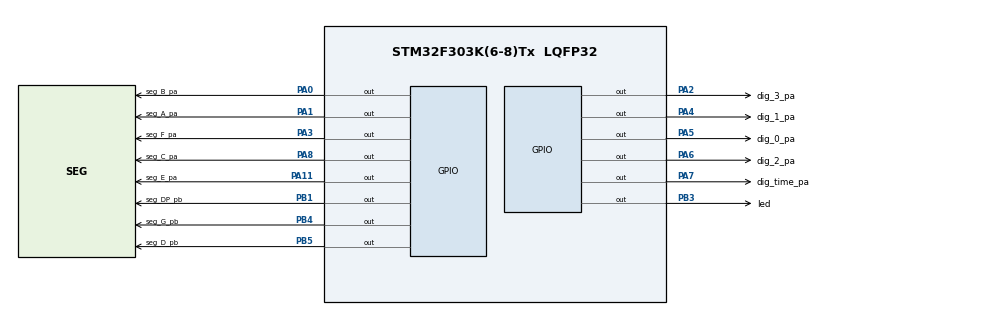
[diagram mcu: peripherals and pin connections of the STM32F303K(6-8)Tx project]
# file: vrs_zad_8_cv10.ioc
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Mcu.Family=STM32F3
Mcu.Name=STM32F303K(6-8)Tx
Mcu.Package=LQFP32
NVIC.PriorityGroup=NVIC_PRIORITYGROUP_4
NVIC.TIM1_TRG_COM_TIM17_IRQn=true\:0\:0\:false\:false\:true\:true\:true
NVIC.TIM1_UP_TIM16_IRQn=true\:0\:0\:false\:false\:true\:true\:true
PA0.GPIO_Label=seg_B_pa
PA0.Signal=GPIO_Output
PA1.GPIO_Label=seg_A_pa
PA1.Signal=GPIO_Output
PA11.GPIO_Label=seg_E_pa
PA11.Signal=GPIO_Output
PA13.GPIO_Label=SWDIO
PA13.Mode=Serial_Wire
PA13.Signal=SYS_JTMS-SWDIO
PA14.GPIO_Label=SWCLK
PA14.Mode=Serial_Wire
PA14.Signal=SYS_JTCK-SWCLK
PA15.GPIO_Label=VCP_RX
PA15.Signal=USART2_RX
PA2.GPIO_Label=dig_3_pa
PA2.Signal=GPIO_Output
PA3.GPIO_Label=seg_F_pa
PA3.Signal=GPIO_Output
PA4.GPIO_Label=dig_1_pa
PA4.Signal=GPIO_Output
PA5.GPIO_Label=dig_0_pa
PA5.Signal=GPIO_Output
PA6.GPIO_Label=dig_2_pa
PA6.Signal=GPIO_Output
PA7.GPIO_Label=dig_time_pa
PA7.Signal=GPIO_Output
PA8.GPIO_Label=seg_C_pa
PA8.Signal=GPIO_Output
PB1.GPIO_Label=seg_DP_pb
PB1.Signal=GPIO_Output
PB3.GPIO_Label=led
PB3.Signal=GPIO_Output
PB4.GPIO_Label=seg_G_pb
PB4.Signal=GPIO_Output
PB5.GPIO_Label=seg_D_pb
PB5.Signal=GPIO_Output
PF0\ /\ OSC_IN.GPIO_Label=MCO
PF0\ /\ OSC_IN.Mode=HSE-External-Clock-Source
PF0\ /\ OSC_IN.Signal=RCC_OSC_IN
ProjectManager.HeapSize=0x200
ProjectManager.StackSize=0x400
ProjectManager.TargetToolchain=STM32CubeIDE
RCC.AHBFreq_Value=8000000
RCC.APB1Freq_Value=8000000
RCC.APB2Freq_Value=8000000
RCC.CortexFreq_Value=8000000
RCC.HSE_VALUE=8000000
RCC.HSI_VALUE=8000000
RCC.SYSCLKFreq_VALUE=8000000
TIM16.Period=499
TIM16.Prescaler=7999
TIM17.Period=7999
VP_TIM16_VS_ClockSourceINT.Mode=Enable_Timer
VP_TIM17_VS_ClockSourceINT.Mode=Enable_Timer
board=NUCLEO-F303K8

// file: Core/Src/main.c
/* USER CODE BEGIN Header */
/**
  ******************************************************************************
  * @file           : main.c
  * @brief          : Main program body
  ******************************************************************************
  * @attention
  *
  * <h2><center>&copy; Copyright (c) 2020 STMicroelectronics.
  * All rights reserved.</center></h2>
  *
  * This software component is licensed by ST under BSD 3-Clause license,
  * the "License"; You may not use this file except in compliance with the
  * License. You may obtain a copy of the License at:
  *                        opensource.org/licenses/BSD-3-Clause
  *
  ******************************************************************************
  */
/* USER CODE END Header */
#include "main.h"

/* USER CODE BEGIN PD */
uint8_t mode=0;
#define multiplex_display 0x1
#define shift_display 0x2
#define up_or_down	0x04

#define max_buff_size 64
uint8_t active_display=0;
uint16_t display_buffer_pa[max_buff_size];
uint16_t display_buffer_pb[max_buff_size];
uint8_t str[max_buff_size];

uint16_t size_buff=0;
uint16_t offset=0;
/* USER CODE END PD */

void SystemClock_Config(void);
static void MX_GPIO_Init(void);
static void MX_TIM17_Init(void);
static void MX_TIM16_Init(void);

/* USER CODE BEGIN 0 */
void my_str_cpy(uint8_t * from, uint8_t * to, uint16_t *copied, uint16_t max){
	uint16_t cnt=0;
	for(cnt=0;cnt<max;cnt++){
		*to=*from;
		if(*from == '\0')
			{*copied=cnt;return;}
		else
			{to+=1;from+=1;}
	}
}

void convert_str_to_7seg(uint8_t *from, uint16_t *pa,uint16_t *pb,uint16_t max){
	uint16_t cnt=0;//,mask_a=0,mask_b=0;
	for (cnt=0;cnt<max;cnt++){
		*pa=0xffff & ~(dig_0_pa_Pin | dig_1_pa_Pin | dig_2_pa_Pin | dig_3_pa_Pin | dig_time_pa_Pin);
		*pb=0xffff;
		switch(*from){
			case '0':{
				*pa &= ~(seg_A_pa_Pin | seg_B_pa_Pin | seg_C_pa_Pin | seg_E_pa_Pin | seg_F_pa_Pin);
				*pb &= ~(seg_D_pb_Pin);
				break;}
			case '1':{
				*pa&=~(seg_B_pa_Pin | seg_C_pa_Pin);
				break;}
			case '2':{
				*pa &= ~(seg_A_pa_Pin | seg_B_pa_Pin | seg_E_pa_Pin );
				*pb &= ~(seg_D_pb_Pin | seg_G_pb_Pin);
				break;}
			case '3':{
				*pa &= ~(seg_A_pa_Pin | seg_B_pa_Pin | seg_C_pa_Pin );
				*pb &= ~(seg_D_pb_Pin | seg_G_pb_Pin);
				break;}
			case '4':{
				*pa &= ~( seg_B_pa_Pin | seg_C_pa_Pin | seg_F_pa_Pin);
				*pb &= ~( seg_G_pb_Pin );
				break;}
			case '5':{
				*pa &= ~(seg_A_pa_Pin | seg_C_pa_Pin | seg_F_pa_Pin);
				*pb &= ~(seg_D_pb_Pin | seg_G_pb_Pin);
				break;}
			case '6':{
				*pa &= ~(seg_A_pa_Pin | seg_C_pa_Pin | seg_E_pa_Pin | seg_F_pa_Pin);
				*pb &= ~(seg_D_pb_Pin | seg_G_pb_Pin);
				break;}
			case '7':{
				*pa &= ~(seg_A_pa_Pin | seg_B_pa_Pin | seg_C_pa_Pin );
				break;}
			case '8':{
				*pa &= ~(seg_A_pa_Pin | seg_B_pa_Pin | seg_C_pa_Pin | seg_E_pa_Pin | seg_F_pa_Pin);
				*pb &= ~(seg_D_pb_Pin | seg_G_pb_Pin);
				break;}
			case '9':{
				*pa &= ~(seg_A_pa_Pin | seg_B_pa_Pin | seg_C_pa_Pin | seg_F_pa_Pin);
				*pb &= ~(seg_D_pb_Pin | seg_G_pb_Pin);
				break;}

			case 'A':{
				*pa &= ~(seg_A_pa_Pin | seg_B_pa_Pin | seg_C_pa_Pin | seg_E_pa_Pin | seg_F_pa_Pin);
				*pb &= ~( seg_G_pb_Pin);
				break;}
			case 'a':{
				*pa &= ~(seg_A_pa_Pin | seg_B_pa_Pin | seg_C_pa_Pin | seg_E_pa_Pin );
				*pb &= ~(seg_D_pb_Pin | seg_G_pb_Pin);
				break;}
			case 'b':{
				*pa &= ~( seg_C_pa_Pin | seg_E_pa_Pin | seg_F_pa_Pin);
				*pb &= ~(seg_D_pb_Pin | seg_G_pb_Pin);
				break;}
			case 'C':{
				*pa &= ~(seg_A_pa_Pin | seg_E_pa_Pin | seg_F_pa_Pin);
				*pb &= ~(seg_D_pb_Pin );
				break;}
			case 'c':{
				*pa &= ~( seg_E_pa_Pin );
				*pb &= ~(seg_D_pb_Pin | seg_G_pb_Pin);
				break;}
			case 'd':{
				*pa &= ~( seg_B_pa_Pin | seg_C_pa_Pin | seg_E_pa_Pin );
				*pb &= ~(seg_D_pb_Pin | seg_G_pb_Pin);
				break;}
			case 'E':{
				*pa &= ~(seg_A_pa_Pin | seg_E_pa_Pin | seg_F_pa_Pin);
				*pb &= ~(seg_D_pb_Pin | seg_G_pb_Pin);
				break;}
			case 'F':{
				*pa &= ~(seg_A_pa_Pin |  seg_E_pa_Pin | seg_F_pa_Pin);
				*pb &= ~( seg_G_pb_Pin);
				break;}
			case 'G':{
				*pa &= ~(seg_A_pa_Pin |  seg_C_pa_Pin | seg_E_pa_Pin | seg_F_pa_Pin);
				*pb &= ~(seg_D_pb_Pin );
				break;}
			case 'H':{
				*pa &= ~(seg_B_pa_Pin | seg_C_pa_Pin | seg_E_pa_Pin | seg_F_pa_Pin);
				*pb &= ~( seg_G_pb_Pin);
				break;}
			case 'h':{
				*pa &= ~( seg_C_pa_Pin | seg_E_pa_Pin | seg_F_pa_Pin);
				*pb &= ~( seg_G_pb_Pin);
				break;}
			case 'I':{
				*pa &= ~( seg_E_pa_Pin | seg_F_pa_Pin);
				// *pb &= ~(seg_D_pb_Pin | seg_G_pb_Pin);
				break;}
			case 'J':{
				*pa &= ~( seg_B_pa_Pin | seg_C_pa_Pin | seg_E_pa_Pin );
				*pb &= ~(seg_D_pb_Pin );
				break;}
			case 'L':{
				*pa &= ~(seg_E_pa_Pin | seg_F_pa_Pin);
				*pb &= ~(seg_D_pb_Pin );
				break;}
			case 'n':{
				*pa &= ~( seg_C_pa_Pin | seg_E_pa_Pin );
				*pb &= ~( seg_G_pb_Pin);
				break;}
			case 'O':{
				*pa &= ~(seg_A_pa_Pin | seg_B_pa_Pin | seg_C_pa_Pin | seg_E_pa_Pin | seg_F_pa_Pin);
				*pb &= ~(seg_D_pb_Pin );
				break;}
			case 'o':{
				*pa &= ~( seg_C_pa_Pin | seg_E_pa_Pin );
				*pb &= ~(seg_D_pb_Pin | seg_G_pb_Pin);
				break;}
			case 'P':{
				*pa &= ~(seg_A_pa_Pin | seg_B_pa_Pin  | seg_E_pa_Pin | seg_F_pa_Pin);
				*pb &= ~( seg_G_pb_Pin);
				break;}
			case 'q':{
				*pa &= ~(seg_A_pa_Pin | seg_B_pa_Pin | seg_C_pa_Pin | seg_F_pa_Pin);
				*pb &= ~( seg_G_pb_Pin);
				break;}
			case 'r':{
				*pa &= ~( seg_E_pa_Pin );
				*pb &= ~(seg_G_pb_Pin);
				break;}
			case 'S':{
				*pa &= ~(seg_A_pa_Pin | seg_C_pa_Pin  | seg_F_pa_Pin);
				*pb &= ~(seg_D_pb_Pin | seg_G_pb_Pin);
				break;}
			case 't':{
				*pa &= ~( seg_E_pa_Pin | seg_F_pa_Pin);
				*pb &= ~(seg_D_pb_Pin | seg_G_pb_Pin);
				break;}
			case 'U':{
				*pa &= ~(  seg_B_pa_Pin | seg_C_pa_Pin | seg_E_pa_Pin | seg_F_pa_Pin);
				*pb &= ~(seg_D_pb_Pin );
				break;}
			case 'u':{
				*pa &= ~( seg_C_pa_Pin | seg_E_pa_Pin );
				*pb &= ~(seg_D_pb_Pin );
				break;}
			case 'y':{
				*pa &= ~( seg_B_pa_Pin | seg_C_pa_Pin  | seg_F_pa_Pin);
				*pb &= ~(seg_D_pb_Pin | seg_G_pb_Pin);
				break;}

			//specials:
			case 'K':{
				*pa &= ~(seg_A_pa_Pin | seg_C_pa_Pin | seg_E_pa_Pin | seg_F_pa_Pin);
				*pb &= ~(seg_G_pb_Pin);
				break;}
			case 'M':{
				*pa &= ~(seg_A_pa_Pin | seg_B_pa_Pin | seg_F_pa_Pin);
				*pb &= ~(seg_D_pb_Pin );
				break;}
			case 'V':{
				*pa &= ~( seg_B_pa_Pin |   seg_F_pa_Pin);
				*pb &= ~(seg_D_pb_Pin );
				break;}
			case 'W':{
				*pa &= ~( seg_B_pa_Pin | seg_C_pa_Pin | seg_E_pa_Pin | seg_F_pa_Pin);
				*pb &= ~(seg_D_pb_Pin | seg_G_pb_Pin);
				break;}
			case 'X':{
				*pa &= ~(seg_A_pa_Pin  );
				*pb &= ~(seg_D_pb_Pin | seg_G_pb_Pin);
				break;}
			case 'Z':{
				*pa &= ~(seg_A_pa_Pin | seg_B_pa_Pin    | seg_E_pa_Pin);
				*pb &= ~(seg_D_pb_Pin | seg_G_pb_Pin);
				break;}
			case '_':{
				//*pa &= ~(seg_A_pa_Pin | seg_B_pa_Pin    | seg_E_pa_Pin);
				*pb &= ~(seg_D_pb_Pin );
				break;}
			default:
				*pb &=~seg_DP_pb_Pin;
			// specials:
			/*case 'm':{
				*pa &= ~( seg_C_pa_Pin | seg_E_pa_Pin );
				*pb &= ~( seg_G_pb_Pin | seg_DP_pb_Pin);

				pa+=1;pb+=1;
				*pa=0xffff & ~(dig_0_pa_Pin | dig_1_pa_Pin | dig_2_pa_Pin | dig_3_pa_Pin | dig_time_pa_Pin);
				*pb=0xffff;

				*pa &= ~( seg_C_pa_Pin | seg_E_pa_Pin );
				*pb &= ~( seg_G_pb_Pin );
				break;}
			case 'x':{
				*pa &= ~(seg_A_pa_Pin | seg_B_pa_Pin | seg_C_pa_Pin | seg_E_pa_Pin | seg_F_pa_Pin);
				*pb &= ~(seg_D_pb_Pin | seg_G_pb_Pin | seg_DP_pb_Pin);

				pa+=1;pb+=1;
				*pa=0xffff & ~(dig_0_pa_Pin | dig_1_pa_Pin | dig_2_pa_Pin | dig_3_pa_Pin | dig_time_pa_Pin);
				*pb=0xffff;
				*pa &= ~(seg_A_pa_Pin | seg_B_pa_Pin | seg_C_pa_Pin | seg_E_pa_Pin | seg_F_pa_Pin);
								*pb &= ~(seg_D_pb_Pin | seg_G_pb_Pin);

			}*/

		}
		pa+=1;pb+=1;from+=1;
	}
}

void start_tim17_with_IT(void){
	  LL_TIM_EnableIT_UPDATE(TIM17);
	  TIM17->CR1 |= TIM_CR1_CEN; // start timer
}

void start_tim16_with_IT(void){
	LL_TIM_EnableIT_UPDATE(TIM16);
	TIM16->CR1 |= TIM_CR1_CEN; // start timer
}

void multiplex_display_fcn(uint16_t offset,uint16_t max_offset){
	//LL_GPIO_TogglePin(led_GPIO_Port, led_Pin);
	active_display++;
	if (active_display>=4)
		active_display=0;
	if (offset>max_offset){
		offset=max_offset;}
	switch (active_display){
		case 0:{
			GPIOA->ODR = display_buffer_pa[offset];
			GPIOB->ODR = display_buffer_pb[offset];
			GPIOA->ODR |= dig_0_pa_Pin;
			break;}
		case 1:{
			GPIOA->ODR = display_buffer_pa[offset+1];
			GPIOB->ODR = display_buffer_pb[offset+1];
			GPIOA->ODR |= dig_1_pa_Pin;
			break;}
		case 2:{
			GPIOA->ODR = display_buffer_pa[offset+2];
			GPIOB->ODR = display_buffer_pb[offset+2];
			GPIOA->ODR |= dig_2_pa_Pin;
			break;}
		case 3:{
			GPIOA->ODR = display_buffer_pa[offset+3];
			GPIOB->ODR = display_buffer_pb[offset+3];
			GPIOA->ODR |= dig_3_pa_Pin;
			break;}
	}

}
/* USER CODE END 0 */

int main(void)
{
  /* USER CODE BEGIN 1 */
	//uint16_t temp=0;
  /* USER CODE END 1 */

  /* MCU Configuration--------------------------------------------------------*/

  /* Reset of all peripherals, Initializes the Flash interface and the Systick. */

  LL_APB2_GRP1_EnableClock(LL_APB2_GRP1_PERIPH_SYSCFG);
  LL_APB1_GRP1_EnableClock(LL_APB1_GRP1_PERIPH_PWR);

  NVIC_SetPriorityGrouping(NVIC_PRIORITYGROUP_4);

  /* System interrupt init*/

  /* Configure the system clock */
  SystemClock_Config();

  /* Initialize all configured peripherals */
  MX_GPIO_Init();
  MX_TIM17_Init();
  MX_TIM16_Init();
  /* USER CODE BEGIN 2 */

  my_str_cpy((uint8_t *) "PEtEr_SZabo_47447_PIrHaLa_MatEJ_92621", str, &size_buff, max_buff_size);
  convert_str_to_7seg(str, display_buffer_pa,display_buffer_pb,size_buff);
  start_tim17_with_IT();
  start_tim16_with_IT();
  //GPIOA->ODR=0xffff & ~(dig_0_pa_Pin | dig_1_pa_Pin | dig_2_pa_Pin | dig_3_pa_Pin | dig_time_pa_Pin);
  //GPIOB->ODR=0xffff;

  //GPIOA->ODR &= ~( seg_B_pa_Pin | seg_C_pa_Pin | seg_F_pa_Pin);
  //GPIOB->ODR &= ~( 1<<5);

  //GPIOA->ODR |= dig_1_pa_Pin;
  /* USER CODE END 2 */

  /* Infinite loop */
  /* USER CODE BEGIN WHILE */
  while (1)
  {
	  __WFI();
	  if (mode & multiplex_display){
		  multiplex_display_fcn(offset,size_buff-4);
		  mode &=~ multiplex_display;
	  }
	  if (mode & shift_display){
		  if (mode & up_or_down){
			  // up
			  offset++;
			  if (offset >(size_buff-4)){
				  offset=size_buff-4;
				  mode &= ~up_or_down;
			  }
		  }
		  else{
			  if (offset == 0){
				  offset=0;
				  mode |=up_or_down;
			  }
			  else{
				  offset--;
			  }
		  }

		  //offset++;
		  //LL_GPIO_TogglePin(led_GPIO_Port,led_Pin);
		  //if (offset >(size_buff-4)){
		  	  //offset=0;}
		  mode &=~ shift_display;
	  }
    /* USER CODE END WHILE */

  }
}

void SystemClock_Config(void)
{
  LL_FLASH_SetLatency(LL_FLASH_LATENCY_0);
  while(LL_FLASH_GetLatency()!= LL_FLASH_LATENCY_0)
  {
  }
  LL_RCC_HSI_Enable();

   /* Wait till HSI is ready */
  while(LL_RCC_HSI_IsReady() != 1)
  {

  }
  LL_RCC_HSI_SetCalibTrimming(16);
  LL_RCC_SetAHBPrescaler(LL_RCC_SYSCLK_DIV_1);
  LL_RCC_SetAPB1Prescaler(LL_RCC_APB1_DIV_1);
  LL_RCC_SetAPB2Prescaler(LL_RCC_APB1_DIV_1);
  LL_RCC_SetSysClkSource(LL_RCC_SYS_CLKSOURCE_HSI);

   /* Wait till System clock is ready */
  while(LL_RCC_GetSysClkSource() != LL_RCC_SYS_CLKSOURCE_STATUS_HSI)
  {

  }
  LL_Init1msTick(8000000);
  LL_SetSystemCoreClock(8000000);
}

static void MX_TIM16_Init(void)
{

  LL_TIM_InitTypeDef TIM_InitStruct = {0};

  /* Peripheral clock enable */
  LL_APB2_GRP1_EnableClock(LL_APB2_GRP1_PERIPH_TIM16);

  /* TIM16 interrupt Init */
  NVIC_SetPriority(TIM1_UP_TIM16_IRQn, NVIC_EncodePriority(NVIC_GetPriorityGrouping(),0, 0));
  NVIC_EnableIRQ(TIM1_UP_TIM16_IRQn);

  TIM_InitStruct.Prescaler = 7999;
  TIM_InitStruct.CounterMode = LL_TIM_COUNTERMODE_UP;
  TIM_InitStruct.Autoreload = 499;
  TIM_InitStruct.ClockDivision = LL_TIM_CLOCKDIVISION_DIV1;
  TIM_InitStruct.RepetitionCounter = 0;
  LL_TIM_Init(TIM16, &TIM_InitStruct);
  LL_TIM_DisableARRPreload(TIM16);

}

static void MX_TIM17_Init(void)
{

  LL_TIM_InitTypeDef TIM_InitStruct = {0};

  /* Peripheral clock enable */
  LL_APB2_GRP1_EnableClock(LL_APB2_GRP1_PERIPH_TIM17);

  /* TIM17 interrupt Init */
  NVIC_SetPriority(TIM1_TRG_COM_TIM17_IRQn, NVIC_EncodePriority(NVIC_GetPriorityGrouping(),0, 0));
  NVIC_EnableIRQ(TIM1_TRG_COM_TIM17_IRQn);

  TIM_InitStruct.Prescaler = 0;
  TIM_InitStruct.CounterMode = LL_TIM_COUNTERMODE_UP;
  TIM_InitStruct.Autoreload = 7999;
  TIM_InitStruct.ClockDivision = LL_TIM_CLOCKDIVISION_DIV1;
  TIM_InitStruct.RepetitionCounter = 0;
  LL_TIM_Init(TIM17, &TIM_InitStruct);
  LL_TIM_DisableARRPreload(TIM17);

}

static void MX_GPIO_Init(void)
{
  LL_GPIO_InitTypeDef GPIO_InitStruct = {0};

  /* GPIO Ports Clock Enable */
  LL_AHB1_GRP1_EnableClock(LL_AHB1_GRP1_PERIPH_GPIOF);
  LL_AHB1_GRP1_EnableClock(LL_AHB1_GRP1_PERIPH_GPIOA);
  LL_AHB1_GRP1_EnableClock(LL_AHB1_GRP1_PERIPH_GPIOB);

  /**/
  LL_GPIO_ResetOutputPin(GPIOA, seg_B_pa_Pin|seg_A_pa_Pin|dig_3_pa_Pin|seg_F_pa_Pin
                          |dig_1_pa_Pin|dig_0_pa_Pin|dig_2_pa_Pin|dig_time_pa_Pin
                          |seg_C_pa_Pin|seg_E_pa_Pin);

  /**/
  LL_GPIO_ResetOutputPin(GPIOB, seg_DP_pb_Pin|led_Pin|seg_G_pb_Pin|seg_D_pb_Pin);

  /**/
  GPIO_InitStruct.Pin = seg_B_pa_Pin|seg_A_pa_Pin|dig_3_pa_Pin|seg_F_pa_Pin
                          |dig_1_pa_Pin|dig_0_pa_Pin|dig_2_pa_Pin|dig_time_pa_Pin
                          |seg_C_pa_Pin|seg_E_pa_Pin;
  GPIO_InitStruct.Mode = LL_GPIO_MODE_OUTPUT;
  GPIO_InitStruct.Speed = LL_GPIO_SPEED_FREQ_LOW;
  GPIO_InitStruct.OutputType = LL_GPIO_OUTPUT_PUSHPULL;
  GPIO_InitStruct.Pull = LL_GPIO_PULL_NO;
  LL_GPIO_Init(GPIOA, &GPIO_InitStruct);

  /**/
  GPIO_InitStruct.Pin = seg_DP_pb_Pin|led_Pin|seg_G_pb_Pin|seg_D_pb_Pin;
  GPIO_InitStruct.Mode = LL_GPIO_MODE_OUTPUT;
  GPIO_InitStruct.Speed = LL_GPIO_SPEED_FREQ_LOW;
  GPIO_InitStruct.OutputType = LL_GPIO_OUTPUT_PUSHPULL;
  GPIO_InitStruct.Pull = LL_GPIO_PULL_NO;
  LL_GPIO_Init(GPIOB, &GPIO_InitStruct);

  /**/
  GPIO_InitStruct.Pin = VCP_RX_Pin;
  GPIO_InitStruct.Mode = LL_GPIO_MODE_ALTERNATE;
  GPIO_InitStruct.Speed = LL_GPIO_SPEED_FREQ_HIGH;
  GPIO_InitStruct.OutputType = LL_GPIO_OUTPUT_PUSHPULL;
  GPIO_InitStruct.Pull = LL_GPIO_PULL_NO;
  GPIO_InitStruct.Alternate = LL_GPIO_AF_7;
  LL_GPIO_Init(VCP_RX_GPIO_Port, &GPIO_InitStruct);

}

void Error_Handler(void)
{
}

/************************ (C) COPYRIGHT STMicroelectronics *****END OF FILE****/
